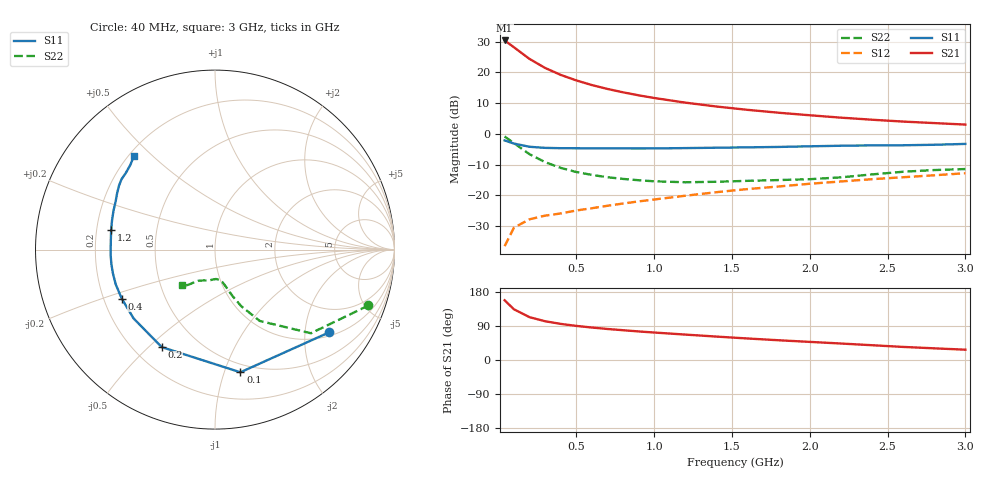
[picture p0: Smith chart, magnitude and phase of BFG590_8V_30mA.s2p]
! Filename:  BFG590K.S2P  Version:  4.0
! Philips part #: BFG590  Date: Jun 1994
! Bias condition: Vce=8V; Ic=30mA
#  MHz  S  MA  R  50
! Freq  S11  S21  S12  S22  !GUM [dB]
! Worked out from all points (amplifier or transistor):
!   21 points, 40 MHz to 3 GHz, reference 50 ohm
!   highest |S21| = 30.4 dB at 40 MHz (marker M1)
!   |S21| within 3 dB of that: start of sweep to 120.9 MHz
!   unconditionally stable (mu >= 1): 833.2 MHz to 2.422 GHz
!   at 300 MHz: K = 0.58, MSG = 24.0 dB, |S12| = -26.6 dB
!   at 1 GHz: K = 1.06, MAG = 15.1 dB, |S12| = -21.3 dB
!   at 3 GHz: K = 0.90, MSG = 7.9 dB, |S12| = -12.8 dB
!   S11 on the Smith chart (normalised r, x): 40 MHz: 1.11, -2.67; 100 MHz: 0.43, -1.14; 200 MHz: 0.31, -0.55; 400 MHz: 0.27, -0.23; 1.2 GHz: 0.26, +0.09; 3 GHz: 0.22, +0.44
40  0.785 -36.0  33.08 157.6  0.015 72.8  0.91 -20.0
100  0.698 -78.3  25.66 133.8  0.03 55.5  0.709 -41.1
200  0.619 -118.6  16.57 113.0  0.041 45.8  0.469 -57.9
300  0.594 -139.7  11.83 102.3  0.047 44.7  0.348 -65.1
400  0.587 -152.3  9.126 95.3  0.051 46.3  0.281 -69.0
500  0.586 -160.8  7.42 90.0  0.057 48.4  0.241 -71.6
600  0.584 -167.0  6.24 85.7  0.062 50.7  0.216 -73.6
700  0.583 -172.1  5.395 81.9  0.068 52.9  0.198 -75.5
800  0.582 -176.5  4.753 78.6  0.074 54.6  0.186 -77.2
900  0.581 179.6  4.249 75.4  0.08 56.2  0.177 -79.4
1000  0.582 176.0  3.845 72.5  0.086 57.3  0.17 -82.0
1200  0.589 169.3  3.231 67.1  0.099 59.1  0.164 -88.0
1400  0.597 163.8  2.793 61.8  0.113 60.2  0.167 -94.1
1600  0.606 158.8  2.466 56.8  0.127 60.6  0.173 -99.3
1800  0.615 154.2  2.213 52.1  0.14 61.1  0.178 -104.4
2000  0.63 149.9  2.013 47.8  0.155 61.0  0.184 -111.0
2200  0.643 146.2  1.84 43.5  0.169 60.7  0.197 -118.1
2400  0.652 143.0  1.703 39.0  0.184 59.7  0.22 -123.2
2600  0.655 139.4  1.589 34.5  0.198 58.3  0.243 -126.7
2800  0.667 135.0  1.502 30.8  0.213 57.4  0.259 -129.3
3000  0.689 131.1  1.42 27.2  0.23 56.1  0.269 -133.5
